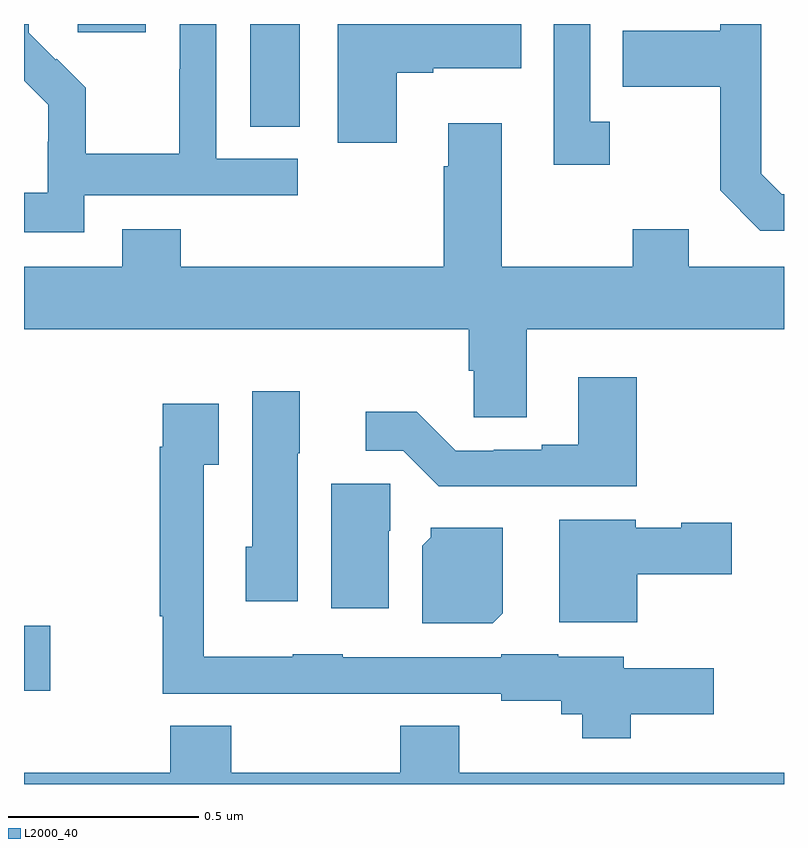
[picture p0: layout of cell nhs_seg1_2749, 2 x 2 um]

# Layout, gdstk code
import gdstk
lib = gdstk.Library(unit=1e-6, precision=1e-09)
def R(c, l, rs):  # rectangles x0, y0, x1, y1
    for r in rs: c.add(gdstk.rectangle(r[:2], r[2:], *l))
def P(c, l, *ps):  # polygons
    for p in ps: c.add(gdstk.Polygon(p, *l))
L2000_40 = (2000, 40)

nhs_seg1_2749 = lib.new_cell('nhs_seg1_2749')
R(nhs_seg1_2749, L2000_40, [(145,553.445,145.069,553.616), (145.595,554.929,145.726,555.199), (145.142,555.177,145.321,555.199)])
P(nhs_seg1_2749, L2000_40, [(145.158,554.748),(145.72,554.748),(145.72,554.844),(145.506,554.844),(145.506,555.199),(145.41,555.199),(145.41,555.08),(145.408,555.08),(145.408,554.857),(145.163,554.857),(145.163,555.031),(145.086,555.108),(145.083,555.105),(145.013,555.176),(145.013,555.199),(145,555.199),(145,555.05),(145.064,554.986),(145.064,554.889),(145.062,554.889),(145.062,554.755),(145,554.755),(145,554.651),(145.158,554.651)],
  [(146.542,554.942),(146.49,554.942),(146.49,555.199),(146.394,555.199),(146.394,554.829),(146.542,554.829)],
  [(147,554.751),(146.994,554.751),(146.94,554.805),(146.94,555.199),(146.832,555.199),(146.832,555.181),(146.575,555.181),(146.575,555.034),(146.832,555.034),(146.832,554.761),(146.937,554.655),(147,554.655)],
  [(145.981,555.071),(146.077,555.071),(146.077,555.083),(146.308,555.083),(146.308,555.199),(145.826,555.199),(145.826,554.886),(145.981,554.886)],
  [(146.323,554.396),(147,554.396),(147,554.56),(146.749,554.56),(146.749,554.659),(146.602,554.659),(146.602,554.56),(146.257,554.56),(146.257,554.938),(146.117,554.938),(146.117,554.825),(146.105,554.825),(146.105,554.56),(145.412,554.56),(145.412,554.659),(145.259,554.659),(145.259,554.56),(145,554.56),(145,554.396),(146.171,554.396),(146.171,554.286),(146.184,554.286),(146.184,554.164),(146.323,554.164)],
  [(146.612,554.269),(146.459,554.269),(146.459,554.092),(146.363,554.092),(146.363,554.079),(146.236,554.079),(146.236,554.076),(146.136,554.076),(146.034,554.179),(145.899,554.179),(145.899,554.076),(145.998,554.076),(146.092,553.982),(146.612,553.982)],
  [(145.72,554.07),(145.726,554.07),(145.726,554.233),(145.601,554.233),(145.601,553.824),(145.583,553.824),(145.583,553.68),(145.72,553.68)],
  [(146.597,553.382),(146.815,553.382),(146.815,553.504),(146.578,553.504),(146.578,553.534),(146.406,553.534),(146.406,553.54),(146.256,553.54),(146.256,553.533),(145.839,553.533),(145.839,553.54),(145.707,553.54),(145.707,553.534),(145.473,553.534),(145.473,554.039),(145.513,554.039),(145.513,554.2),(145.365,554.2),(145.365,554.087),(145.357,554.087),(145.357,553.64),(145.365,553.64),(145.365,553.437),(145.607,553.437),(145.607,553.436),(145.839,553.436),(145.839,553.437),(146.256,553.437),(146.256,553.418),(146.414,553.418),(146.414,553.382),(146.469,553.382),(146.469,553.319),(146.597,553.319)],
  [(145.96,553.866),(145.964,553.866),(145.964,553.989),(145.808,553.989),(145.808,553.662),(145.96,553.662)],
  [(146.614,553.751),(146.863,553.751),(146.863,553.886),(146.73,553.886),(146.73,553.873),(146.61,553.873),(146.61,553.894),(146.408,553.894),(146.408,553.625),(146.614,553.625)],
  [(146.26,553.648),(146.26,553.873),(146.07,553.873),(146.07,553.848),(146.048,553.826),(146.048,553.622),(146.234,553.622)],
  [(147,553.228),(146.145,553.228),(146.145,553.352),(145.99,553.352),(145.99,553.228),(145.545,553.228),(145.545,553.352),(145.385,553.352),(145.385,553.228),(145,553.228),(145,553.199),(147,553.199)])

lib.write_gds('nhs_seg1_2749.gds')
